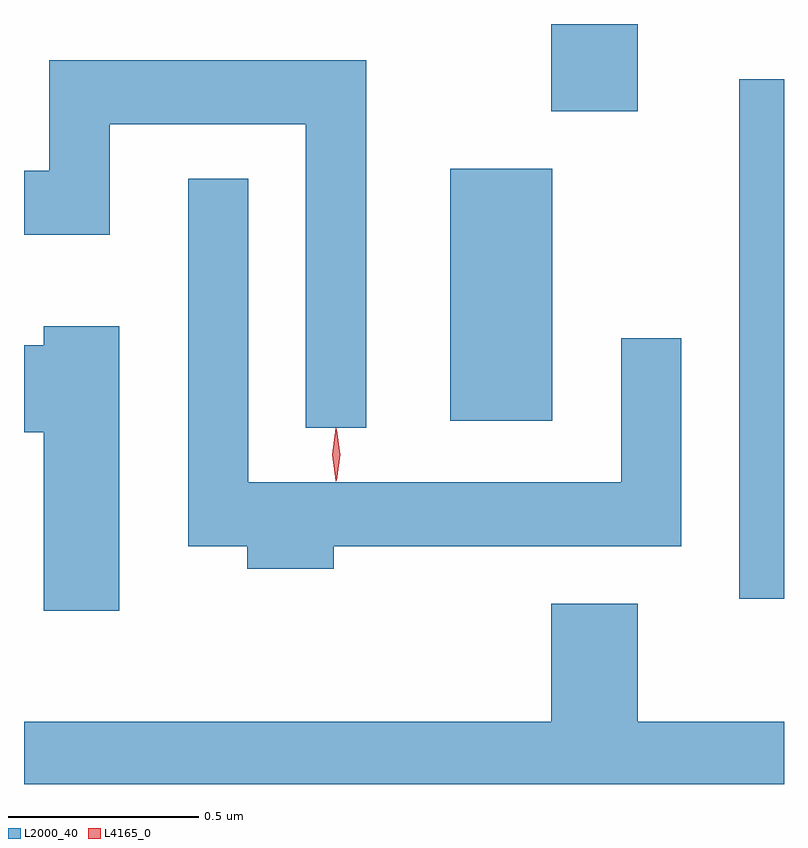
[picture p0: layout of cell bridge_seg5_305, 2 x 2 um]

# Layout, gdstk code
import gdstk
lib = gdstk.Library(unit=1e-6, precision=1e-09)
def R(c, l, rs):  # rectangles x0, y0, x1, y1
    for r in rs: c.add(gdstk.rectangle(r[:2], r[2:], *l))
def P(c, l, *ps):  # polygons
    for p in ps: c.add(gdstk.Polygon(p, *l))
L2000_40 = (2000, 40)
L4165_0 = (4165, 0)

bridge_seg5_305 = lib.new_cell('bridge_seg5_305')
R(bridge_seg5_305, L2000_40, [(675.186,1499.568,675.304,1500.934), (674.426,1500.036,674.694,1500.699), (674.691,1500.851,674.919,1501.08)])
P(bridge_seg5_305, L2000_40, [(674.204,1500.984),(673.371,1500.984),(673.371,1500.694),(673.304,1500.694),(673.304,1500.526),(673.529,1500.526),(673.529,1500.816),(674.046,1500.816),(674.046,1500.018),(674.204,1500.018)],
  [(674.119,1499.706),(675.034,1499.706),(675.034,1500.253),(674.876,1500.253),(674.876,1499.874),(673.894,1499.874),(673.894,1500.673),(673.736,1500.673),(673.736,1499.706),(673.891,1499.706),(673.891,1499.646),(674.119,1499.646)],
  [(673.554,1500.284),(673.356,1500.284),(673.356,1500.234),(673.304,1500.234),(673.304,1500.006),(673.356,1500.006),(673.356,1499.536),(673.554,1499.536)],
  [(675.304,1499.244),(674.919,1499.244),(674.919,1499.554),(674.691,1499.554),(674.691,1499.244),(673.304,1499.244),(673.304,1499.08),(675.304,1499.08)])
P(bridge_seg5_305, L4165_0, [(674.125,1499.877),(674.125,1499.878),(674.115,1499.947),(674.125,1500.016),(674.125,1500.016),(674.126,1500.016),(674.135,1499.947),(674.126,1499.878)],
  [(674.126,1499.879),(674.126,1499.88),(674.116,1499.946),(674.126,1500.012),(674.126,1500.013),(674.127,1500.012),(674.136,1499.946),(674.127,1499.88)])

lib.write_gds('bridge_seg5_305.gds')
